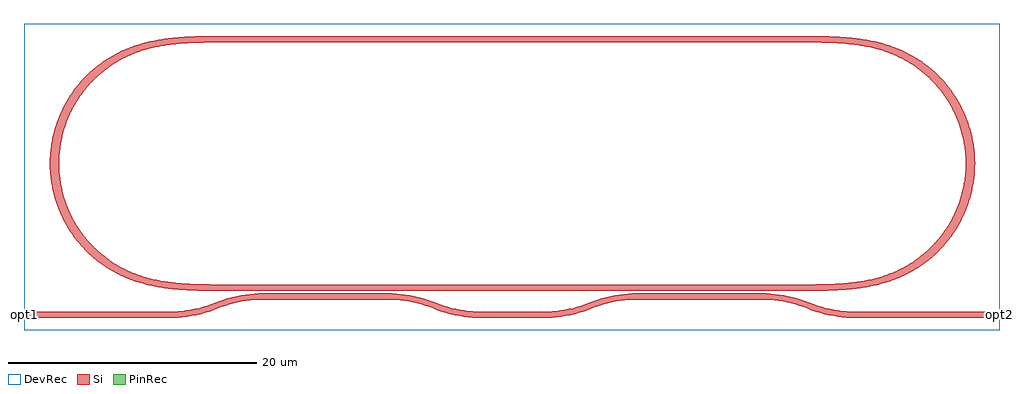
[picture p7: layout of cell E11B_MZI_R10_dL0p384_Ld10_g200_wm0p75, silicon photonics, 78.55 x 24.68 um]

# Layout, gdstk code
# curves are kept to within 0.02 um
import gdstk
lib = gdstk.Library(unit=1e-6, precision=1e-09)
def R(c, l, rs):  # rectangles x0, y0, x1, y1
    for r in rs: c.add(gdstk.rectangle(r[:2], r[2:], *l))
def P(c, l, *ps):  # polygons
    for p in ps: c.add(gdstk.Polygon(p, *l))
Si = (1, 0)
PinRec = (1, 10)
DevRec = (68, 0)

c__e11bring_r10p000_lc44p1 = lib.new_cell('_E11Bring_R10p000_Lc44p103_w0p500_wm0p750_tp30')
R(c__e11bring_r10p000_lc44p1, Si, [(-22.052,-10.25,22.052,-9.75), (-22.052,9.75,22.052,10.25)])
P(c__e11bring_r10p000_lc44p1, Si, [(-23.213,-10.25),(-26.197,-10.193),(-27.355,-10.105),(-28.341,-9.976),(-29.317,-9.783),(-30.117,-9.565),(-30.899,-9.289),(-31.657,-8.954),(-32.52,-8.475),(-33.19,-8.02),(-33.942,-7.404),(-34.631,-6.719),(-35.249,-5.969),(-35.707,-5.301),(-36.109,-4.598),(-36.514,-3.715),(-36.832,-2.797),(-37.087,-1.693),(-37.205,-0.728),(-37.229,0.243),(-37.158,1.212),(-36.993,2.17),(-36.736,3.107),(-36.389,4.014),(-35.955,4.884),(-35.439,5.707),(-34.845,6.476),(-34.179,7.184),(-33.448,7.823),(-32.657,8.388),(-31.806,8.88),(-30.899,9.29),(-29.959,9.613),(-28.831,9.888),(-27.52,10.088),(-26.197,10.193),(-24.705,10.24),(-22.052,10.25),(-22.052,9.75),(-24.57,9.741),(-26.301,9.678),(-27.866,9.515),(-29.101,9.271),(-29.857,9.054),(-30.45,8.841),(-31.028,8.591),(-31.588,8.304),(-32.121,7.986),(-32.629,7.636),(-33.571,6.84),(-34.002,6.398),(-34.498,5.807),(-34.945,5.179),(-35.264,4.651),(-35.615,3.964),(-35.854,3.395),(-36.056,2.812),(-36.254,2.066),(-36.369,1.46),(-36.456,0.694),(-36.481,-0.077),(-36.444,-0.847),(-36.369,-1.46),(-36.219,-2.216),(-36.056,-2.811),(-35.798,-3.538),(-35.481,-4.242),(-35.028,-5.048),(-34.498,-5.807),(-34.002,-6.398),(-33.346,-7.05),(-32.752,-7.543),(-32.121,-7.986),(-31.45,-8.379),(-30.596,-8.781),(-29.707,-9.101),(-28.641,-9.376),(-27.71,-9.537),(-26.615,-9.655),(-25.515,-9.717),(-22.052,-9.75),(-22.052,-10.25)],
  [(22.052,-10.25),(22.052,-9.75),(24.728,-9.738),(26.301,-9.678),(27.71,-9.537),(28.948,-9.307),(29.857,-9.053),(30.741,-8.72),(31.588,-8.304),(32.378,-7.815),(33.23,-7.152),(34.002,-6.398),(34.683,-5.56),(35.339,-4.515),(35.798,-3.538),(36.182,-2.366),(36.411,-1.154),(36.481,-0.077),(36.429,1.001),(36.254,2.066),(35.96,3.105),(35.481,4.242),(34.945,5.179),(34.206,6.167),(33.346,7.05),(32.504,7.726),(31.725,8.227),(30.885,8.657),(30.007,9.004),(28.948,9.308),(27.554,9.559),(26.301,9.678),(24.57,9.741),(22.052,9.75),(22.052,10.25),(25.866,10.209),(27.19,10.122),(28.013,10.026),(28.994,9.855),(29.959,9.613),(30.899,9.29),(31.806,8.88),(32.657,8.388),(33.448,7.823),(34.179,7.184),(34.845,6.476),(35.439,5.707),(35.955,4.884),(36.389,4.014),(36.736,3.107),(36.993,2.17),(37.158,1.212),(37.229,0.243),(37.192,-0.89),(37.058,-1.852),(36.832,-2.797),(36.514,-3.715),(36.109,-4.598),(35.62,-5.438),(35.151,-6.098),(34.631,-6.719),(33.942,-7.404),(33.19,-8.02),(32.52,-8.475),(31.657,-8.954),(30.899,-9.289),(30.117,-9.565),(29.317,-9.783),(28.341,-9.976),(27.355,-10.105),(25.369,-10.226)])

e11b_mzi_r10_dl0p384_ld1 = lib.new_cell('E11B_MZI_R10_dL0p384_Ld10_g200_wm0p75')
R(e11b_mzi_r10_dl0p384_ld1, Si, [(-1,-0.25,0,0.25), (0,-0.25,10.7,0.25), (35.803,-0.25,40.803,0.25), (65.906,-0.25,76.535,0.25), (76.535,-0.25,77.535,0.25), (18.252,1.23,28.252,1.73), (48.355,1.23,58.355,1.73)])
P(e11b_mzi_r10_dl0p384_ld1, Si, [(65.906,-0.25),(65.185,-0.225),(64.112,-0.092),(63.058,0.154),(62.036,0.509),(62.225,0.972),(62.869,0.735),(63.862,0.467),(64.879,0.304),(65.906,0.25)],
  [(62.036,0.509),(61.392,0.745),(60.399,1.014),(59.382,1.176),(58.355,1.23),(58.355,1.73),(59.076,1.705),(59.793,1.629),(60.855,1.421),(61.548,1.22),(62.225,0.972)],
  [(44.673,0.509),(44.485,0.972),(45.162,1.22),(46.206,1.503),(46.916,1.629),(47.634,1.705),(48.355,1.73),(48.355,1.23),(47.327,1.176),(46.648,1.08),(45.645,0.846)],
  [(35.803,-0.25),(35.082,-0.225),(34.009,-0.092),(32.955,0.154),(31.933,0.509),(32.122,0.972),(32.766,0.735),(33.759,0.467),(34.775,0.304),(35.803,0.25)],
  [(31.933,0.509),(30.961,0.846),(29.959,1.08),(29.279,1.176),(28.252,1.23),(28.252,1.73),(28.973,1.705),(29.69,1.629),(30.752,1.421),(31.445,1.22),(32.122,0.972)],
  [(40.803,-0.25),(40.803,0.25),(41.831,0.304),(42.847,0.467),(43.84,0.735),(44.485,0.972),(44.673,0.509),(43.651,0.154),(42.598,-0.092),(41.524,-0.225)],
  [(14.57,0.509),(14.381,0.972),(15.059,1.22),(16.103,1.503),(16.813,1.629),(17.531,1.705),(18.252,1.73),(18.252,1.23),(17.224,1.176),(16.544,1.08),(15.542,0.846)],
  [(10.7,-0.25),(10.7,0.25),(11.728,0.304),(12.744,0.467),(13.737,0.735),(14.381,0.972),(14.57,0.509),(13.548,0.154),(12.495,-0.092),(11.421,-0.225)])
R(e11b_mzi_r10_dl0p384_ld1, DevRec, [(-1,-1.25,77.535,23.43)])
e11b_mzi_r10_dl0p384_ld1.add(gdstk.FlexPath([(77.525,0),(77.545,0)], 0.5, ends="flush", simple_path=True, layer=1, datatype=10))  # PinRec
e11b_mzi_r10_dl0p384_ld1.add(gdstk.FlexPath([(-0.99,0),(-1.01,0)], 0.5, ends="flush", simple_path=True, layer=1, datatype=10))  # PinRec
e11b_mzi_r10_dl0p384_ld1.add(gdstk.Reference(c__e11bring_r10p000_lc44p1, (38.303,12.18)))
e11b_mzi_r10_dl0p384_ld1.add(gdstk.Label('opt2', (77.535,0), layer=1, texttype=10))
e11b_mzi_r10_dl0p384_ld1.add(gdstk.Label('opt1', (-1,0), layer=1, texttype=10))

lib.write_gds('E11B_MZI_R10_dL0p384_Ld10_g200_wm0p75.gds')
